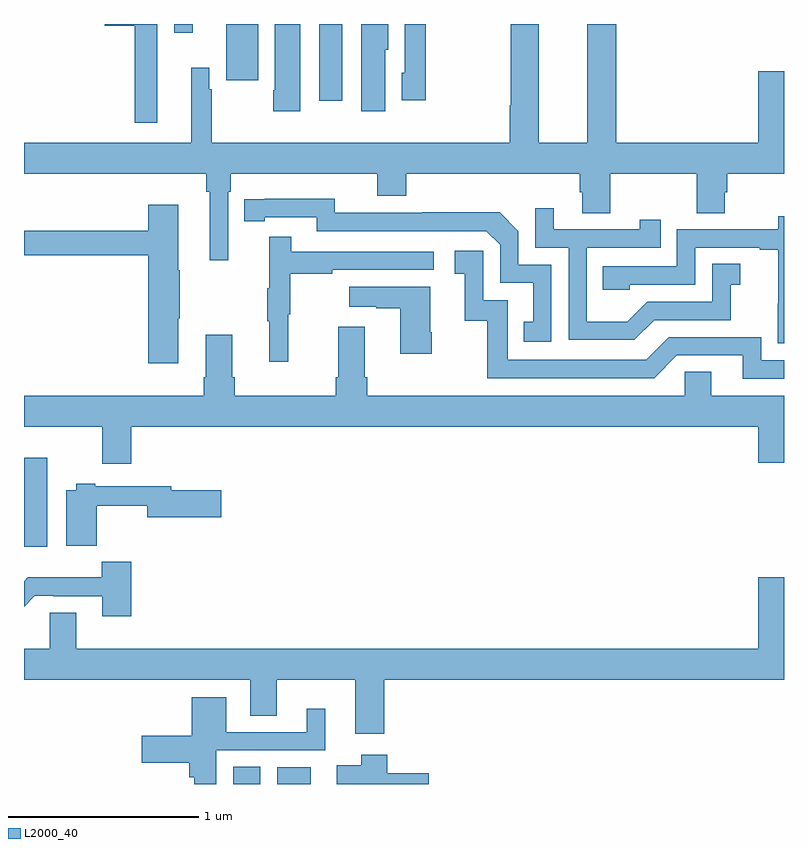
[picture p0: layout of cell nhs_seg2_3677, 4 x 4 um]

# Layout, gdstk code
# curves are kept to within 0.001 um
import gdstk
lib = gdstk.Library(unit=1e-6, precision=1e-09)
def R(c, l, rs):  # rectangles x0, y0, x1, y1
    for r in rs: c.add(gdstk.rectangle(r[:2], r[2:], *l))
def P(c, l, *ps):  # polygons
    for p in ps: c.add(gdstk.Polygon(p, *l))
L2000_40 = (2000, 40)

nhs_seg2_3677 = lib.new_cell('nhs_seg2_3677')
R(nhs_seg2_3677, L2000_40, [(306.101,601.8,306.244,601.892), (306.332,601.8,306.508,601.888), (305,603.048,305.122,603.517), (306.554,605.397,306.676,605.8), (306.065,605.505,306.232,605.8), (305.79,605.754,305.887,605.8)])
P(nhs_seg2_3677, L2000_40, [(307.114,605.8),(307.005,605.8),(307.005,605.544),(306.989,605.544),(306.989,605.4),(307.114,605.4)],
  [(306.454,605.8),(306.32,605.8),(306.32,605.452),(306.313,605.452),(306.313,605.34),(306.454,605.34)],
  [(306.901,605.664),(306.916,605.664),(306.916,605.8),(306.776,605.8),(306.776,605.34),(306.901,605.34)],
  [(305.702,605.696),(305.7,605.696),(305.7,605.8),(305.426,605.8),(305.426,605.792),(305.584,605.792),(305.584,605.28),(305.702,605.28)],
  [(305.879,605.569),(305.879,605.176),(305,605.176),(305,605.012),(305.959,605.012),(305.959,604.916),(305.978,604.916),(305.978,604.557),(306.075,604.557),(306.075,604.916),(306.089,604.916),(306.089,605.012),(306.86,605.012),(306.86,604.895),(307.013,604.895),(307.013,605.012),(307.925,605.012),(307.925,604.914),(307.937,604.914),(307.937,604.804),(308.085,604.804),(308.085,605.012),(308.542,605.012),(308.542,604.804),(308.689,604.804),(308.689,604.914),(308.702,604.914),(308.702,605.012),(309,605.012),(309,605.551),(308.864,605.551),(308.864,605.176),(308.117,605.176),(308.117,605.8),(307.964,605.8),(307.964,605.176),(307.708,605.176),(307.708,605.8),(307.561,605.8),(307.561,605.372),(307.556,605.372),(307.556,605.176),(305.989,605.176),(305.989,605.456),(305.976,605.456),(305.976,605.569)],
  [(307.776,604.533),(307.602,604.533),(307.602,604.71),(307.504,604.808),(307.096,604.808),(307.096,604.806),(306.636,604.806),(306.636,604.879),(306.16,604.878),(306.16,604.762),(306.268,604.762),(306.268,604.782),(306.54,604.782),(306.54,604.71),(307.434,604.71),(307.506,604.638),(307.506,604.437),(307.679,604.437),(307.679,604.233),(307.63,604.233),(307.63,604.128),(307.776,604.128)],
  [(305.812,604.252),(305.82,604.252),(305.82,604.505),(305.812,604.505),(305.812,604.849),(305.654,604.849),(305.654,604.711),(305,604.711),(305,604.582),(305.654,604.582),(305.654,604.014),(305.812,604.014)],
  [(308.317,604.242),(308.721,604.242),(308.721,604.427),(308.77,604.427),(308.77,604.537),(308.622,604.537),(308.622,604.338),(308.28,604.338),(308.176,604.234),(307.962,604.234),(307.962,604.623),(308.351,604.623),(308.351,604.771),(308.24,604.771),(308.24,604.719),(307.789,604.719),(307.789,604.831),(307.692,604.831),(307.692,604.623),(307.866,604.623),(307.866,604.137),(308.212,604.137)],
  [(309,604.788),(308.97,604.788),(308.97,604.719),(308.436,604.719),(308.436,604.524),(308.047,604.524),(308.047,604.401),(308.187,604.401),(308.187,604.428),(308.532,604.428),(308.532,604.623),(308.873,604.623),(308.873,604.611),(308.969,604.611),(308.969,604.327),(308.968,604.327),(308.968,604.121),(309,604.121)],
  [(306.392,604.272),(306.4,604.272),(306.4,604.486),(306.623,604.486),(306.623,604.506),(307.156,604.506),(307.156,604.602),(306.407,604.602),(306.407,604.681),(306.29,604.681),(306.29,604.409),(306.279,604.409),(306.279,604.235),(306.29,604.235),(306.29,604.023),(306.392,604.023)],
  [(309,604.029),(308.88,604.029),(308.88,604.152),(308.394,604.152),(308.274,604.032),(307.545,604.032),(307.545,604.347),(307.416,604.347),(307.416,604.606),(307.266,604.606),(307.266,604.485),(307.319,604.485),(307.319,604.239),(307.437,604.239),(307.437,603.936),(308.316,603.936),(308.436,604.056),(308.783,604.056),(308.783,603.933),(309,603.933)],
  [(307.146,604.177),(307.138,604.177),(307.138,604.417),(306.711,604.417),(306.711,604.313),(306.854,604.313),(306.854,604.303),(306.98,604.303),(306.98,604.065),(307.146,604.065)],
  [(305.564,603.68),(308.864,603.68),(308.864,603.492),(309,603.492),(309,603.844),(308.617,603.844),(308.617,603.971),(308.478,603.971),(308.478,603.844),(306.806,603.844),(306.806,603.94),(306.793,603.94),(306.793,604.207),(306.653,604.207),(306.653,603.94),(306.641,603.94),(306.641,603.844),(306.11,603.844),(306.11,603.94),(306.097,603.94),(306.097,604.165),(305.957,604.165),(305.957,603.94),(305.945,603.94),(305.945,603.844),(305,603.844),(305,603.68),(305.411,603.68),(305.411,603.486),(305.564,603.486)],
  [(305.384,603.265),(305.648,603.265),(305.648,603.203),(306.037,603.203),(306.037,603.345),(305.776,603.345),(305.776,603.366),(305.374,603.366),(305.374,603.379),(305.274,603.379),(305.274,603.346),(305.222,603.346),(305.222,603.053),(305.384,603.053)],
  [(305.564,602.971),(305.409,602.971),(305.409,602.887),(305.02,602.887),(305,602.867),(305,602.734),(305.056,602.79),(305.155,602.79),(305.155,602.787),(305.411,602.787),(305.411,602.682),(305.564,602.682)],
  [(306.896,602.348),(309,602.348),(309,602.887),(308.864,602.887),(308.864,602.512),(305.275,602.512),(305.275,602.702),(305.135,602.702),(305.135,602.512),(305,602.512),(305,602.348),(306.191,602.348),(306.191,602.158),(306.331,602.158),(306.331,602.348),(306.743,602.348),(306.743,602.064),(306.896,602.064)],
  [(306.012,601.977),(306.586,601.977),(306.586,602.197),(306.488,602.197),(306.488,602.073),(306.064,602.073),(306.064,602.257),(305.882,602.257),(305.882,602.055),(305.619,602.055),(305.619,601.913),(305.87,601.913),(305.87,601.835),(305.896,601.835),(305.896,601.8),(306.012,601.8)],
  [(307.129,601.856),(306.911,601.856),(306.911,601.954),(306.776,601.954),(306.776,601.9),(306.647,601.9),(306.647,601.8),(307.129,601.8)])

lib.write_gds('nhs_seg2_3677.gds')
